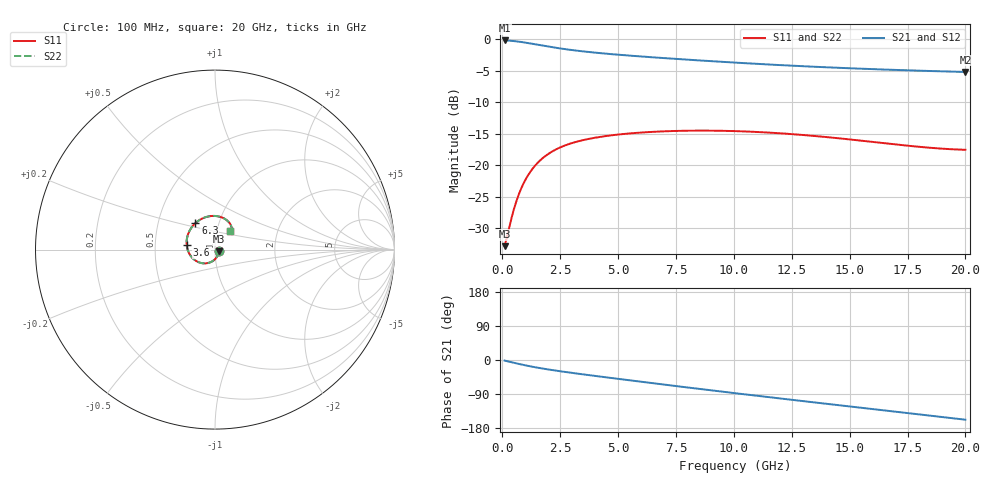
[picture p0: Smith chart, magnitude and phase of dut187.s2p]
! Created with skrf 1.9.0 (http://scikit-rf.org).
# GHz S RI R 50.0
!freq ReS11 ImS11 ReS21 ImS21 ReS12 ImS12 ReS22 ImS22
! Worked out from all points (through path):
!   200 points, 100 MHz to 20 GHz, reference 50 ohm
!   highest |S21| = -0.20 dB at 100 MHz (marker M1); lowest = -5.2 dB at 20 GHz (marker M2)
!   group delay of S21, straight-line fit = 20.7 ps
!   lowest |S11| = -32.8 dB at 100 MHz (marker M3), VSWR 1.05, Z = 52.2 - j0.881 ohm
!   |S11| at or under -10 dB: start of sweep to end of sweep
!   |S22| runs from -32.8 to -14.5 dB; largest |S21 - S12| = 2.1e-15
!   S11 on the Smith chart (normalised r, x): 100 MHz: 1.04, -0.02; 3.6 GHz: 0.73, +0.04; 6.3 GHz: 0.77, +0.23; 20 GHz: 1.16, +0.24
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0.1  0.0212 -0.00844  0.9774 -0.0267  0.9774 -0.0267  0.0212 -0.00844
0.5  0.00812 -0.044  0.9587 -0.1246  0.9587 -0.1246  0.00812 -0.044
0.7  -0.00447 -0.0577  0.9422 -0.1694  0.9422 -0.1694  -0.00447 -0.0577
0.8  -0.0118 -0.0633  0.9326 -0.1904  0.9326 -0.1904  -0.0118 -0.0633
1  -0.0279 -0.0715  0.9113 -0.2294  0.9113 -0.2294  -0.0279 -0.0715
1.3  -0.0534 -0.0768  0.8762 -0.2805  0.8762 -0.2805  -0.0534 -0.0768
1.7  -0.0858 -0.0722  0.8274 -0.3363  0.8274 -0.3363  -0.0858 -0.0722
2.2  -0.1186 -0.0535  0.768 -0.3912  0.768 -0.3912  -0.1186 -0.0535
2.8  -0.1442 -0.0211  0.702 -0.4432  0.702 -0.4432  -0.1442 -0.0211
3.5  -0.1572 0.0204  0.6307 -0.4929  0.6307 -0.4929  -0.1572 0.0204
3.6  -0.1579 0.0263  0.6209 -0.4993  0.6209 -0.4993  -0.1579 0.0263
4.8  -0.1484 0.0901  0.5061 -0.5658  0.5061 -0.5658  -0.1484 0.0901
6.3  -0.1094 0.1471  0.3648 -0.6241  0.3648 -0.6241  -0.1094 0.1471
6.8  -0.0933 0.1601  0.318 -0.6373  0.318 -0.6373  -0.0933 0.1601
8.4  -0.0394 0.1842  0.1709 -0.6591  0.1709 -0.6591  -0.0394 0.1842
10.1  0.0125 0.1861  0.0237 -0.6512  0.0237 -0.6512  0.0125 0.1861
11.7  0.0502 0.1737  -0.1023 -0.6191  -0.1023 -0.6191  0.0502 0.1737
13.4  0.0767 0.1533  -0.2206 -0.564  -0.2206 -0.564  0.0767 0.1533
15.1  0.09 0.1319  -0.3218 -0.4913  -0.3218 -0.4913  0.09 0.1319
16.7  0.0931 0.1154  -0.4006 -0.4097  -0.4006 -0.4097  0.0931 0.1154
18.4  0.0903 0.1044  -0.4657 -0.3113  -0.4657 -0.3113  0.0903 0.1044
20  0.0856 0.1014  -0.5081 -0.2102  -0.5081 -0.2102  0.0856 0.1014
